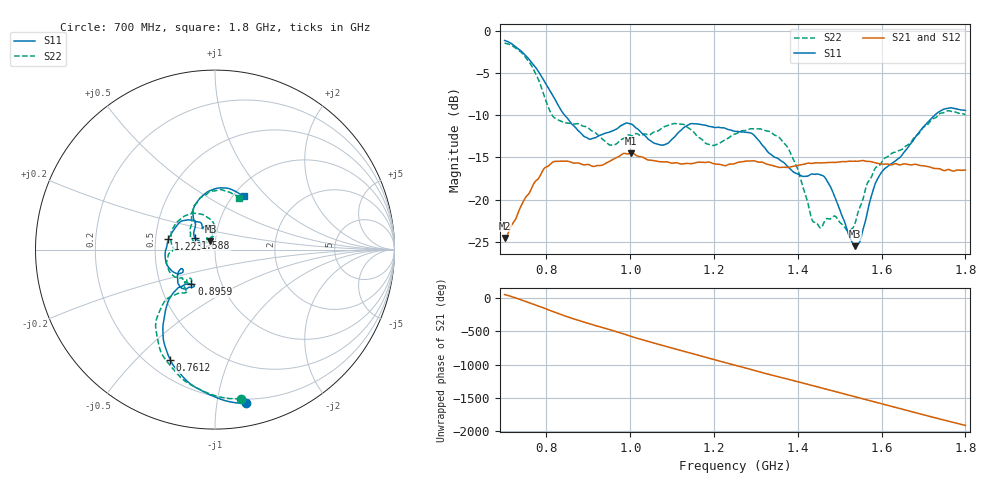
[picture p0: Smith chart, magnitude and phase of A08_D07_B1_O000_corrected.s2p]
! Created with skrf 1.9.0 (http://scikit-rf.org).
# Hz S RI R 50.0
!freq ReS11 ImS11 ReS21 ImS21 ReS12 ImS12 ReS22 ImS22
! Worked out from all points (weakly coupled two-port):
!   1601 points, 700 MHz to 1.8 GHz, reference 50 ohm
!   highest |S21| = -14.49 dB at 1.002 GHz (marker M1); lowest = -24.5 dB at 700 MHz (marker M2)
!   lowest |S11| = -25.5 dB at 1.537 GHz (marker M3), VSWR 1.11, Z = 47.3 + j4.45 ohm
!   |S11| at or under -10 dB: 843.4 MHz to 1.727 GHz (883.5 MHz wide, 68.7 % of centre)
!   |S22| runs from -23.7 to -1.5 dB; largest |S21 - S12| = 0.0036
!   S11 on the Smith chart (normalised r, x): 700 MHz: 0.17, -1.21; 761.2 MHz: 0.29, -0.63; 895.9 MHz: 0.72, -0.29; 1.223 GHz: 0.58, +0.08; 1.588 GHz: 0.79, +0.11; 1.8 GHz: 1.12, +0.75
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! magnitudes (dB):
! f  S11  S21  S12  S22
! 700 MHz  -1.2  -24.5  -24.3  -1.5
! 761.2 MHz  -3.6  -19.0  -18.9  -3.9
! 816.2 MHz  -7.8  -15.5  -15.6  -10.2
! 883.6 MHz  -12.2  -15.8  -15.7  -11.2
! 895.9 MHz  -12.7  -15.8  -15.9  -11.4
! 953 MHz  -11.9  -15.4  -15.4  -13.5
! 1.002 GHz  -11.1  -14.5  -14.6  -12.4
! 1.067 GHz  -13.5  -15.5  -15.4  -11.8
! 1.144 GHz  -11.0  -15.7  -15.7  -11.7
! 1.185 GHz  -11.3  -15.5  -15.6  -13.4
! 1.223 GHz  -11.5  -15.9  -16.0  -13.0
! 1.25 GHz  -11.9  -15.7  -15.6  -12.2
! 1.358 GHz  -15.3  -16.2  -16.1  -12.7
! 1.396 GHz  -16.9  -16.0  -16.0  -16.0
! 1.434 GHz  -16.9  -15.7  -15.7  -22.3
! 1.471 GHz  -17.8  -15.6  -15.6  -22.2
! 1.537 GHz  -25.5  -15.4  -15.5  -22.8
! 1.55 GHz  -24.7  -15.4  -15.4  -20.7
! 1.588 GHz  -17.7  -15.7  -15.7  -16.1
! 1.617 GHz  -16.0  -15.8  -15.8  -14.8
! 1.734 GHz  -9.7  -16.3  -16.4  -10.1
! 1.8 GHz  -9.4  -16.5  -16.5  -10.0
